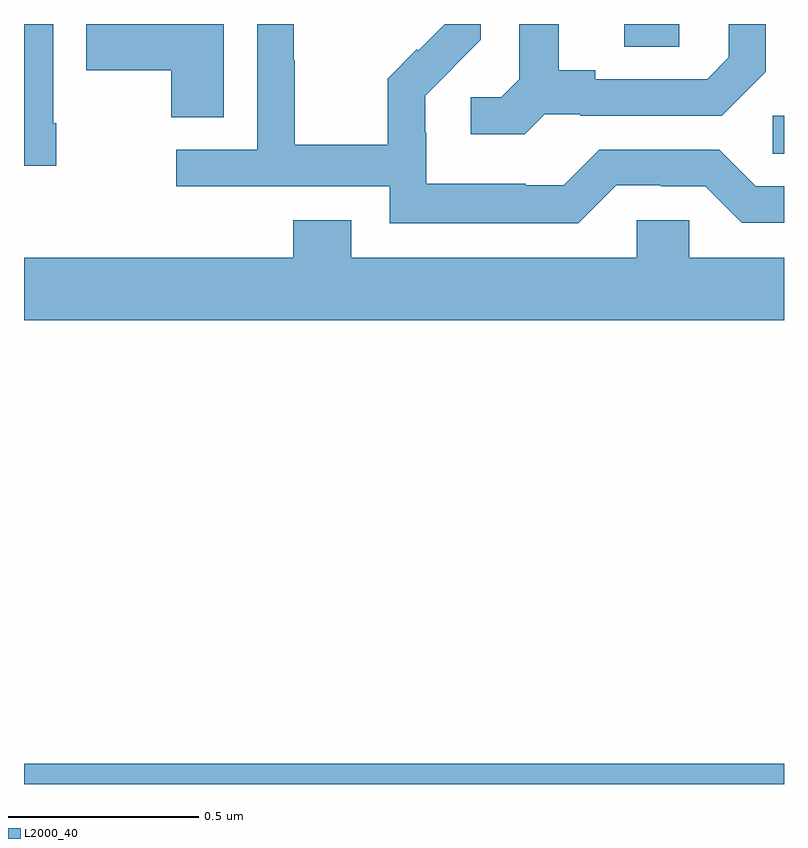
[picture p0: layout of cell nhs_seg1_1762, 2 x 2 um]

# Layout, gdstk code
import gdstk
lib = gdstk.Library(unit=1e-6, precision=1e-09)
def R(c, l, rs):  # rectangles x0, y0, x1, y1
    for r in rs: c.add(gdstk.rectangle(r[:2], r[2:], *l))
def P(c, l, *ps):  # polygons
    for p in ps: c.add(gdstk.Polygon(p, *l))
L2000_40 = (2000, 40)

nhs_seg1_1762 = lib.new_cell('nhs_seg1_1762')
R(nhs_seg1_1762, L2000_40, [(133,529.199,135,529.252), (134.97,530.857,135,530.958), (134.579,531.139,134.724,531.199)])
P(nhs_seg1_1762, L2000_40, [(134.37,530.961),(134.464,530.961),(134.464,530.958),(134.836,530.958),(134.952,531.074),(134.952,531.199),(134.855,531.199),(134.855,531.111),(134.798,531.054),(134.503,531.054),(134.503,531.077),(134.407,531.077),(134.407,531.199),(134.303,531.199),(134.303,531.053),(134.256,531.006),(134.175,531.006),(134.175,530.909),(134.318,530.909)],
  [(134.559,530.775),(134.675,530.775),(134.675,530.772),(134.793,530.772),(134.889,530.676),(135,530.676),(135,530.772),(134.925,530.772),(134.829,530.868),(134.514,530.868),(134.421,530.775),(134.321,530.775),(134.321,530.779),(134.058,530.779),(134.058,530.913),(134.056,530.913),(134.056,531.01),(134.13,531.084),(134.129,531.085),(134.202,531.158),(134.202,531.199),(134.107,531.199),(134.037,531.129),(134.034,531.132),(133.957,531.055),(133.957,530.881),(133.713,530.881),(133.713,531.104),(133.71,531.104),(133.71,531.199),(133.614,531.199),(133.614,530.868),(133.401,530.868),(133.401,530.772),(133.962,530.772),(133.962,530.675),(134.459,530.675)],
  [(133.525,531.199),(133.164,531.199),(133.164,531.077),(133.387,531.077),(133.387,530.953),(133.525,530.953)],
  [(133.085,530.938),(133.077,530.938),(133.077,531.199),(133,531.199),(133,530.826),(133.085,530.826)],
  [(135,530.584),(134.751,530.584),(134.751,530.682),(134.613,530.682),(134.613,530.584),(133.861,530.584),(133.861,530.683),(133.709,530.683),(133.709,530.584),(133,530.584),(133,530.42),(135,530.42)])

lib.write_gds('nhs_seg1_1762.gds')
